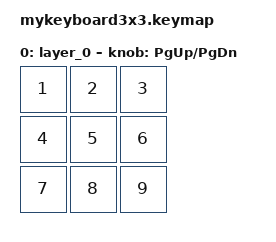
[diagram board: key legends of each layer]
#include <behaviors.dtsi>
#include <dt-bindings/zmk/keys.h>

/ {
    behaviors {
        rot_kp: sensor_rotate_kp {
            compatible = "zmk,behavior-sensor-rotate-var";
            #sensor-binding-cells = <2>;
            bindings = <&kp>, <&kp>;
        };
    };

    keymap {
        compatible = "zmk,keymap";

        layer_0 {
            bindings = <
                        &kp N1  &kp N2  &kp N3
                        &kp N4  &kp N5  &kp N6
                        &kp N7  &kp N8  &kp N9
            >;

            sensor-bindings = <&rot_kp PG_UP PG_DN>;
        };
    };
};
